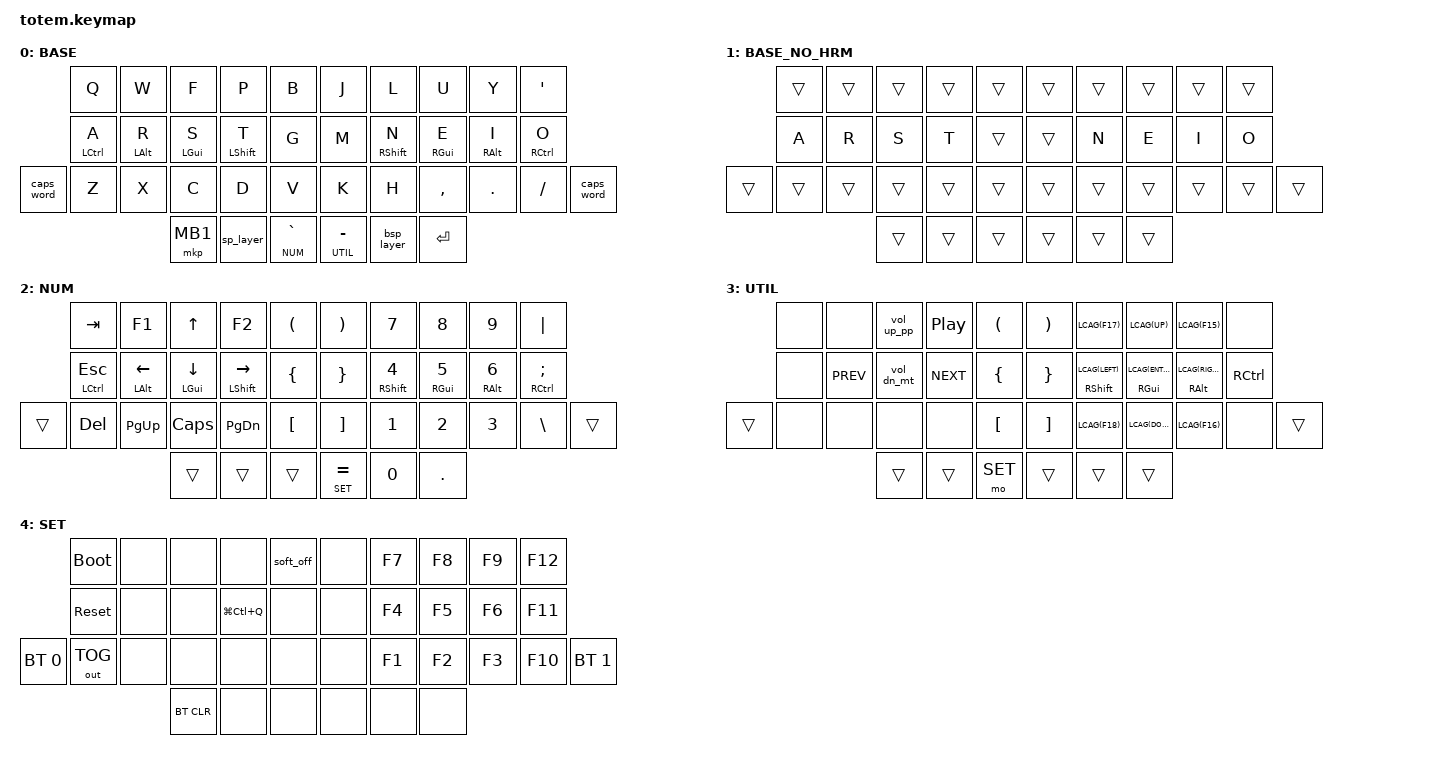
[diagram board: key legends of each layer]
//
//                                                        ▀▀▀▀▀     ▀▀▀▀▀          ▀▀█▀▀
//                                                        ▄▀▀▀▄  ▄  ▄▀▀▀▄  ▄  ▄▀▀▀▄  █  ▄▀▀▀▄
//                                                        █   █  █  █   █  █  █   █  █  █   █
//                                                         ▀▀▀   █   ▀▀▀   █   ▀▀▀   ▀   ▀▀▀
//                                                               █      ▄▄▄█▄▄▄    █   █  
//                                                               ▀      █  █  █     █▄█
//                                                             ▀▀▀▀▀    █  █  █      ▀
//                                                                      ▀  ▀  ▀
//
// ▄▄▄▄▄▄▄▄▄▄▄▄▄▄▄▄▄▄▄▄▄▄▄▄▄▄▄▄▄▄▄▄▄▄▄▄▄▄▄▄▄▄▄▄▄▄▄▄▄▄▄▄▄▄▄▄▄▄▄▄▄▄▄▄▄▄▄▄▄▄▄▄▄▄▄▄▄▄▄▄▄▄▄▄▄▄▄▄▄▄▄▄▄▄▄▄▄▄▄▄▄▄▄▄▄▄▄▄▄▄▄▄▄▄▄▄▄▄▄▄▄▄▄▄▄▄▄▄▄▄▄▄▄▄▄▄▄▄▄▄▄▄▄▄▄▄▄▄▄
       

#include <behaviors.dtsi>
#include <dt-bindings/zmk/keys.h>
#include <dt-bindings/zmk/bt.h>
#include <dt-bindings/zmk/outputs.h>
#include <dt-bindings/zmk/pointing.h>

#define BASE 0
#define BASE_NO_HRM 1
#define NUM  2
#define UTIL 3
#define SET  4

#define LCAG(KEY) LC(LA(LG(KEY)))
#define MLOCK LG(LC(Q))

&caps_word {
  continue-list = <UNDERSCORE MINUS>;
};

&mt {
  quick-tap-ms = <200>;
  global-quick-tap;
  flavor = "tap-preferred";
  tapping-term-ms = <201>;
};

/ {
  macros {
    sp_layer: sp_layer {
      compatible = "zmk,behavior-macro";
      #binding-cells = <0>;
      bindings
      = <&macro_press &kp SPACE &mo BASE_NO_HRM>
      , <&macro_pause_for_release>
      , <&macro_release &kp SPACE &mo BASE_NO_HRM>
      ;
    };
    bsp_layer: bsp_layer {
      compatible = "zmk,behavior-macro";
      #binding-cells = <0>;
      bindings
      = <&macro_press &kp BACKSPACE &mo BASE_NO_HRM>
      , <&macro_pause_for_release>
      , <&macro_release &kp BACKSPACE &mo BASE_NO_HRM>
      ;
    };
  };
};

/ {
  behaviors {
    vol_up_pp: volume_up_play_pause {
      compatible = "zmk,behavior-mod-morph";
      #binding-cells = <0>;
      bindings = <&kp C_VOL_UP>, <&kp C_PP>;
      mods = <(MOD_LSFT|MOD_RSFT)>;
    };
    vol_dn_mt: volume_down_mute {
      compatible = "zmk,behavior-mod-morph";
      #binding-cells = <0>;
      bindings = <&kp C_VOL_DN>, <&kp C_MUTE>;
      mods = <(MOD_LSFT|MOD_RSFT)>;
    };
    index_combo: index_combo {
      compatible = "zmk,behavior-hold-tap";
      #binding-cells = <2>;
      tapping-term-ms = <250>;
      quick-tap-ms = <0>;
      flavor = "hold-preferred";
      bindings = <&caps_word &kp>;
    };
  };

  combos {
    compatible = "zmk,combos";
    combo_index_fingers {
      timeout-ms = <50>;
      key-positions = <13 16>;
      bindings = <&index_combo 0 F24>;
    };
    combo_middle_fingers {
      timeout-ms = <50>;
      key-positions = <12 17>;
      bindings = <&kp F23>;
    };
    combo_ring_fingers {
      timeout-ms = <50>;
      key-positions = <11 18>;
      bindings = <&kp F22>;
    };
    combo_pinky_fingers {
      timeout-ms = <50>;
      key-positions = <10 19>;
      bindings = <&kp F21>;
    };
  };

  keymap {
    compatible = "zmk,keymap";

    base_layer {
// ┏━━━━━━━━━━━━━━━━━━━━━━━━━━━━━━━━━━━━━━━┓
      label= "BASE"                        ;
// ┗━━━━━━━━━━━━━━━━━━━━━━━━━━━━━━━━━━━━━━━┛
//             ┏━━━━━━━━━━━┳━━━━━━━━━━━┳━━━━━━━━━━━┳━━━━━━━━━━━┳━━━━━━━━━━━┓   ┏━━━━━━━━━━━┳━━━━━━━━━━━┳━━━━━━━━━━━┳━━━━━━━━━━━┳━━━━━━━━━━━┓
//             ┃     Q     ┃     W     ┃     F     ┃     P     ┃     B     ┃   ┃     J     ┃     L     ┃     U     ┃     Y     ┃     '     ┃
//             ┣━━━━━━━━━━━╋━━━━━━━━━━━╋━━━━━━━━━━━╋━━━━━━━━━━━╋━━━━━━━━━━━┫   ┣━━━━━━━━━━━╋━━━━━━━━━━━╋━━━━━━━━━━━╋━━━━━━━━━━━╋━━━━━━━━━━━┫
//             ┃     A     ┃     R     ┃     S     ┃     T     ┃     G     ┃   ┃     M     ┃     N     ┃     E     ┃     I     ┃     O     ┃
// ┏━━━━━━━━━━━╋━━━━━━━━━━━╋━━━━━━━━━━━╋━━━━━━━━━━━╋━━━━━━━━━━━╋━━━━━━━━━━━┫   ┣━━━━━━━━━━━╋━━━━━━━━━━━╋━━━━━━━━━━━╋━━━━━━━━━━━╋━━━━━━━━━━━╋━━━━━━━━━━━┓
// ┃ CAPS WORD ┃     Z     ┃     X     ┃     C     ┃     D     ┃     V     ┃   ┃     K     ┃     H     ┃     ,     ┃     .     ┃     /     ┃ CAPS WORD ┃
// ┗━━━━━━━━━━━┻━━━━━━━━━━━┻━━━━━━━━━━━╋━━━━━━━━━━━╋━━━━━━━━━━━╋━━━━━━━━━━━┫   ┣━━━━━━━━━━━╋━━━━━━━━━━━╋━━━━━━━━━━━╋━━━━━━━━━━━┻━━━━━━━━━━━┻━━━━━━━━━━━┛
//                                     ┃   CLICK   ┃ SPC/BSPC  ┃     `     ┃   ┃     -     ┃    BSPC   ┃  RETURN   ┃
//                                     ┗━━━━━━━━━━━┻━━━━━━━━━━━┻━━━━━━━━━━━┛   ┗━━━━━━━━━━━┻━━━━━━━━━━━┻━━━━━━━━━━━┛
      bindings = <
// ╷           ╷           ╷           ╷           ╷           ╷           ╷   ╷              ╷           ╷           ╷           ╷           ╷           ╷

                &kp Q       &kp W       &kp F       &kp P       &kp B           &kp J          &kp L       &kp U       &kp Y       &kp SQT
                &mt LCTRL A &mt LALT R  &mt LGUI S  &mt LSHFT T &kp G           &kp M          &mt RSHFT N &mt RGUI E  &mt RALT I  &mt RCTRL O
    &caps_word  &kp Z       &kp X       &kp C       &kp D       &kp V           &kp K          &kp H       &kp COMMA   &kp DOT     &kp FSLH    &caps_word
                                        &mkp MB1    &sp_layer   &lt NUM GRAVE   &lt UTIL MINUS &bsp_layer  &kp RET
      >;
    };

    base_no_hrm_layer {
// ┏━━━━━━━━━━━━━━━━━━━━━━━━━━━━━━━━━━━━━━━┓
      label= "BASE_NO_HRM"                 ;
// ┗━━━━━━━━━━━━━━━━━━━━━━━━━━━━━━━━━━━━━━━┛
//             ┏━━━━━━━━━━━┳━━━━━━━━━━━┳━━━━━━━━━━━┳━━━━━━━━━━━┳━━━━━━━━━━━┓   ┏━━━━━━━━━━━┳━━━━━━━━━━━┳━━━━━━━━━━━┳━━━━━━━━━━━┳━━━━━━━━━━━┓
//             ┃           ┃           ┃           ┃           ┃           ┃   ┃           ┃           ┃           ┃           ┃           ┃
//             ┣━━━━━━━━━━━╋━━━━━━━━━━━╋━━━━━━━━━━━╋━━━━━━━━━━━╋━━━━━━━━━━━┫   ┣━━━━━━━━━━━╋━━━━━━━━━━━╋━━━━━━━━━━━╋━━━━━━━━━━━╋━━━━━━━━━━━┫
//             ┃     A     ┃     R     ┃     S     ┃     T     ┃           ┃   ┃           ┃     N     ┃     E     ┃     I     ┃     O     ┃
// ┏━━━━━━━━━━━╋━━━━━━━━━━━╋━━━━━━━━━━━╋━━━━━━━━━━━╋━━━━━━━━━━━╋━━━━━━━━━━━┫   ┣━━━━━━━━━━━╋━━━━━━━━━━━╋━━━━━━━━━━━╋━━━━━━━━━━━╋━━━━━━━━━━━╋━━━━━━━━━━━┓
// ┃           ┃           ┃           ┃           ┃           ┃           ┃   ┃           ┃           ┃           ┃           ┃           ┃      WORD ┃
// ┗━━━━━━━━━━━┻━━━━━━━━━━━┻━━━━━━━━━━━╋━━━━━━━━━━━╋━━━━━━━━━━━╋━━━━━━━━━━━┫   ┣━━━━━━━━━━━╋━━━━━━━━━━━╋━━━━━━━━━━━╋━━━━━━━━━━━┻━━━━━━━━━━━┻━━━━━━━━━━━┛
//                                     ┃           ┃           ┃           ┃   ┃           ┃           ┃           ┃
//                                     ┗━━━━━━━━━━━┻━━━━━━━━━━━┻━━━━━━━━━━━┛   ┗━━━━━━━━━━━┻━━━━━━━━━━━┻━━━━━━━━━━━┛
      bindings = <
// ╷           ╷           ╷           ╷           ╷           ╷           ╷   ╷              ╷           ╷           ╷           ╷           ╷           ╷

                &trans      &trans      &trans      &trans      &trans          &trans         &trans      &trans      &trans      &trans
                &kp A       &kp R       &kp S       &kp T       &trans          &trans         &kp N       &kp E       &kp I       &kp O      
    &trans      &trans      &trans      &trans      &trans      &trans          &trans         &trans      &trans      &trans      &trans     &trans
                                        &trans      &trans      &trans          &trans         &trans      &trans
      >;
    };

    num_layer {
// ┏━━━━━━━━━━━━━━━━━━━━━━━━━━━━━━━━━━━━━━━┓
      label= "NUM"                         ;
// ┗━━━━━━━━━━━━━━━━━━━━━━━━━━━━━━━━━━━━━━━┛
//             ┏━━━━━━━━━━━┳━━━━━━━━━━━┳━━━━━━━━━━━┳━━━━━━━━━━━┳━━━━━━━━━━━┓          ┏━━━━━━━━━━━┳━━━━━━━━━━━┳━━━━━━━━━━━┳━━━━━━━━━━━┳━━━━━━━━━━━┓
//             ┃    TAB    ┃     F1    ┃     UP    ┃    F2     ┃     (     ┃          ┃     )     ┃     7     ┃     8     ┃     9     ┃     |     ┃
//             ┣━━━━━━━━━━━╋━━━━━━━━━━━╋━━━━━━━━━━━╋━━━━━━━━━━━╋━━━━━━━━━━━┫          ┣━━━━━━━━━━━╋━━━━━━━━━━━╋━━━━━━━━━━━╋━━━━━━━━━━━╋━━━━━━━━━━━┫
//             ┃    ESC    ┃   LEFT    ┃    DOWN   ┃   RIGHT   ┃     {     ┃          ┃     }     ┃     4     ┃     5     ┃     6     ┃     ;     ┃
// ┏━━━━━━━━━━━╋━━━━━━━━━━━╋━━━━━━━━━━━╋━━━━━━━━━━━╋━━━━━━━━━━━╋━━━━━━━━━━━┫          ┣━━━━━━━━━━━╋━━━━━━━━━━━╋━━━━━━━━━━━╋━━━━━━━━━━━╋━━━━━━━━━━━╋━━━━━━━━━━━┓
// ┃           ┃    DEL    ┃   P UP    ┃  C LOCK   ┃  P DOWN   ┃     [     ┃          ┃     ]     ┃     1     ┃     2     ┃     3     ┃     \     ┃           ┃
// ┗━━━━━━━━━━━┻━━━━━━━━━━━┻━━━━━━━━━━━╋━━━━━━━━━━━╋━━━━━━━━━━━╋━━━━━━━━━━━┫          ┣━━━━━━━━━━━╋━━━━━━━━━━━╋━━━━━━━━━━━╋━━━━━━━━━━━┻━━━━━━━━━━━┻━━━━━━━━━━━┛
//                                     ┃           ┃           ┃           ┃          ┃     =     ┃     0     ┃     .     ┃
//                                     ┗━━━━━━━━━━━┻━━━━━━━━━━━┻━━━━━━━━━━━┛          ┗━━━━━━━━━━━┻━━━━━━━━━━━┻━━━━━━━━━━━┛
      bindings = <
// ╷           ╷             ╷             ╷             ╷               ╷        ╷   ╷             ╷            ╷           ╷            ╷           ╷           ╷

                &kp TAB       &kp F1        &kp UP        &kp F2          &kp LPAR     &kp RPAR      &kp N7       &kp N8      &kp N9      &kp PIPE
                &mt LCTRL ESC &mt LALT LEFT &mt LGUI DOWN &mt LSHFT RIGHT &kp LBRC     &kp RBRC      &mt RSHFT N4 &mt RGUI N5 &mt RALT N6 &mt RCTRL SEMI
    &trans      &kp DEL       &kp PG_UP     &kp CAPS      &kp PG_DN       &kp LBKT     &kp RBKT      &kp N1       &kp N2      &kp N3      &kp BSLH      &trans      
                                            &trans        &trans          &trans       &lt SET EQUAL &kp N0       &kp DOT      
      >;
    };

    util_layer {
// ┏━━━━━━━━━━━━━━━━━━━━━━━━━━━━━━━━━━━━━━━┓
      label= "UTIL"                        ;
// ┗━━━━━━━━━━━━━━━━━━━━━━━━━━━━━━━━━━━━━━━┛
//             ┏━━━━━━━━━━━┳━━━━━━━━━━━┳━━━━━━━━━━━┳━━━━━━━━━━━┳━━━━━━━━━━━┓   ┏━━━━━━━━━━━┳━━━━━━━━━━━┳━━━━━━━━━━━┳━━━━━━━━━━━┳━━━━━━━━━━━┓
//             ┃           ┃           ┃VOL+/Pl/Pau┃PLAY/PAUSE ┃     (     ┃   ┃     )     ┃ WIN UP L  ┃  WIN UP   ┃ WIN UP R  ┃           ┃
//             ┣━━━━━━━━━━━╋━━━━━━━━━━━╋━━━━━━━━━━━╋━━━━━━━━━━━╋━━━━━━━━━━━┫   ┣━━━━━━━━━━━╋━━━━━━━━━━━╋━━━━━━━━━━━╋━━━━━━━━━━━╋━━━━━━━━━━━┫
//             ┃           ┃    PREV   ┃VOL-/Mute  ┃   Next    ┃     {     ┃   ┃     }     ┃ WIN LEFT  ┃WIN CENTER ┃ WIN RIGHT ┃           ┃
// ┏━━━━━━━━━━━╋━━━━━━━━━━━╋━━━━━━━━━━━╋━━━━━━━━━━━╋━━━━━━━━━━━╋━━━━━━━━━━━┫   ┣━━━━━━━━━━━╋━━━━━━━━━━━╋━━━━━━━━━━━╋━━━━━━━━━━━╋━━━━━━━━━━━╋━━━━━━━━━━━┓
// ┃           ┃           ┃           ┃           ┃           ┃     [     ┃   ┃     ]     ┃ WIN DN L  ┃ WIN DOWN  ┃ WIN DN R  ┃           ┃           ┃
// ┗━━━━━━━━━━━┻━━━━━━━━━━━┻━━━━━━━━━━━╋━━━━━━━━━━━╋━━━━━━━━━━━╋━━━━━━━━━━━┫   ┣━━━━━━━━━━━╋━━━━━━━━━━━╋━━━━━━━━━━━╋━━━━━━━━━━━┻━━━━━━━━━━━┻━━━━━━━━━━━┛
//                                     ┃           ┃           ┃    SET    ┃   ┃           ┃           ┃           ┃
//                                     ┗━━━━━━━━━━━┻━━━━━━━━━━━┻━━━━━━━━━━━┛   ┗━━━━━━━━━━━┻━━━━━━━━━━━┻━━━━━━━━━━━┛
      bindings = <
// ╷           ╷           ╷           ╷             ╷         ╷         ╷     ╷            ╷              ╷              ╷                ╷           ╷     ╷

                &none      &none       &vol_up_pp    &kp C_PP   &kp LPAR       &kp RPAR     &kp LCAG(F17)        &kp LCAG(UP)         &kp LCAG(F15)        &none       
                &none      &kp C_PREV  &vol_dn_mt    &kp C_NEXT &kp LBRC       &kp RBRC     &mt RSHFT LCAG(LEFT) &mt RGUI LCAG(ENTER) &mt RALT LCAG(RIGHT) &kp RCTRL 
    &trans      &none      &none       &none         &none      &kp LBKT       &kp RBKT     &kp LCAG(F18)        &kp LCAG(DOWN)       &kp LCAG(F16)        &none       &trans         
                                       &trans        &trans     &mo SET        &trans       &trans               &trans      
      >;
    };

    settings_layer {
// ┏━━━━━━━━━━━━━━━━━━━━━━━━━━━━━━━━━━━━━━━┓
      label= "SET"                         ;
// ┗━━━━━━━━━━━━━━━━━━━━━━━━━━━━━━━━━━━━━━━┛
//             ┏━━━━━━━━━━━┳━━━━━━━━━━━┳━━━━━━━━━━━┳━━━━━━━━━━━┳━━━━━━━━━━━┓   ┏━━━━━━━━━━━┳━━━━━━━━━━━┳━━━━━━━━━━━┳━━━━━━━━━━━┳━━━━━━━━━━━┓
//             ┃ BOOTLOAD  ┃           ┃           ┃           ┃SOFT POWER ┃   ┃           ┃    F7     ┃    F8     ┃    F9     ┃    F12    ┃
//             ┣━━━━━━━━━━━╋━━━━━━━━━━━╋━━━━━━━━━━━╋━━━━━━━━━━━╋━━━━━━━━━━━┫   ┣━━━━━━━━━━━╋━━━━━━━━━━━╋━━━━━━━━━━━╋━━━━━━━━━━━╋━━━━━━━━━━━┫
//             ┃  RESET    ┃           ┃           ┃ LOCK MAC  ┃           ┃   ┃           ┃    F4     ┃    F5     ┃    F6     ┃    F11    ┃
// ┏━━━━━━━━━━━╋━━━━━━━━━━━╋━━━━━━━━━━━╋━━━━━━━━━━━╋━━━━━━━━━━━╋━━━━━━━━━━━┫   ┣━━━━━━━━━━━╋━━━━━━━━━━━╋━━━━━━━━━━━╋━━━━━━━━━━━╋━━━━━━━━━━━╋━━━━━━━━━━━┓
// ┃  BT #0    ┃BT/USB TGGL┃           ┃           ┃           ┃           ┃   ┃           ┃    F1     ┃    F2     ┃    F3     ┃    F10    ┃   BT#1    ┃
// ┗━━━━━━━━━━━┻━━━━━━━━━━━┻━━━━━━━━━━━╋━━━━━━━━━━━╋━━━━━━━━━━━╋━━━━━━━━━━━┫   ┣━━━━━━━━━━━╋━━━━━━━━━━━╋━━━━━━━━━━━╋━━━━━━━━━━━┻━━━━━━━━━━━┻━━━━━━━━━━━┛
//                                     ┃ CLEAR BT  ┃           ┃           ┃   ┃           ┃           ┃           ┃
//                                     ┗━━━━━━━━━━━┻━━━━━━━━━━━┻━━━━━━━━━━━┛   ┗━━━━━━━━━━━┻━━━━━━━━━━━┻━━━━━━━━━━━┛
      bindings = <
// ╷           ╷             ╷         ╷            ╷           ╷           ╷   ╷           ╷           ╷           ╷           ╷           ╷           ╷

                &bootloader  &none     &none        &none       &soft_off       &none       &kp F7      &kp F8      &kp F9      &kp F12
                &sys_reset   &none     &none        &kp MLOCK   &none           &none       &kp F4      &kp F5      &kp F6      &kp F11  
   &bt BT_SEL 0 &out OUT_TOG &none     &none        &none       &none           &none       &kp F1      &kp F2      &kp F3      &kp F10     &bt BT_SEL 1         
                                       &bt BT_CLR   &none       &none           &none       &none       &none      
      >;
    };
  };
};

